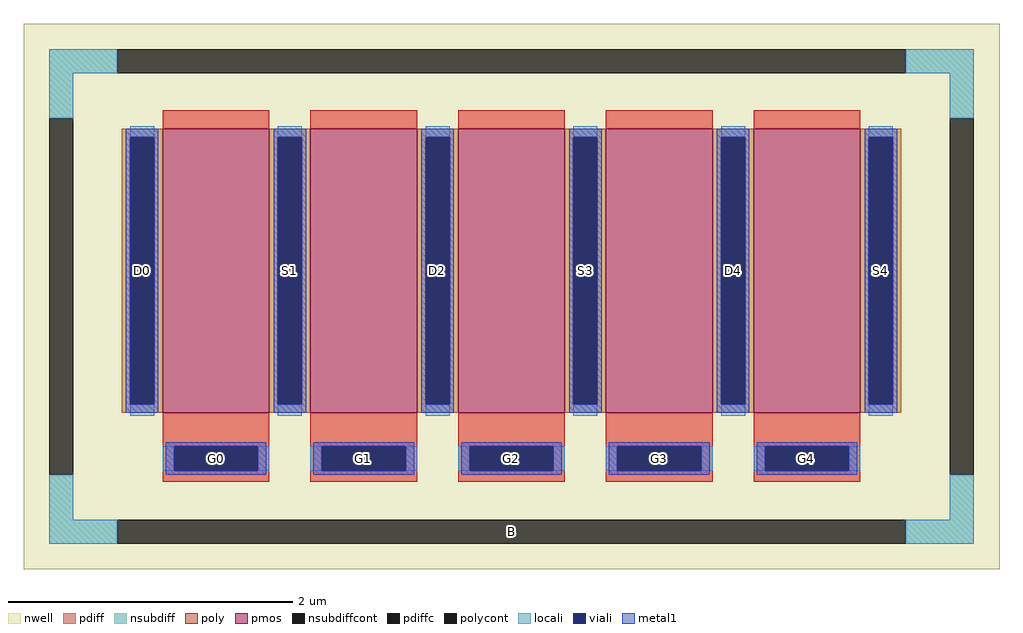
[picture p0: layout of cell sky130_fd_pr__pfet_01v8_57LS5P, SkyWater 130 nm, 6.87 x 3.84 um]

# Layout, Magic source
magic
tech sky130A
magscale 1 2
<< nwell >>
rect -687 -384 687 384
<< pmos >>
rect -491 -164 -341 236
rect -283 -164 -133 236
rect -75 -164 75 236
rect 133 -164 283 236
rect 341 -164 491 236
<< pdiff >>
rect -549 224 -491 236
rect -549 -152 -537 224
rect -503 -152 -491 224
rect -549 -164 -491 -152
rect -341 224 -283 236
rect -341 -152 -329 224
rect -295 -152 -283 224
rect -341 -164 -283 -152
rect -133 224 -75 236
rect -133 -152 -121 224
rect -87 -152 -75 224
rect -133 -164 -75 -152
rect 75 224 133 236
rect 75 -152 87 224
rect 121 -152 133 224
rect 75 -164 133 -152
rect 283 224 341 236
rect 283 -152 295 224
rect 329 -152 341 224
rect 283 -164 341 -152
rect 491 224 549 236
rect 491 -152 503 224
rect 537 -152 549 224
rect 491 -164 549 -152
<< pdiffc >>
rect -537 -152 -503 224
rect -329 -152 -295 224
rect -121 -152 -87 224
rect 87 -152 121 224
rect 295 -152 329 224
rect 503 -152 537 224
<< nsubdiff >>
rect -651 314 -555 348
rect 555 314 651 348
rect -651 251 -617 314
rect 617 251 651 314
rect -651 -314 -617 -251
rect 617 -314 651 -251
rect -651 -348 -555 -314
rect 555 -348 651 -314
<< nsubdiffcont >>
rect -555 314 555 348
rect -651 -251 -617 251
rect 617 -251 651 251
rect -555 -348 555 -314
<< poly >>
rect -491 236 -341 262
rect -283 236 -133 262
rect -75 236 75 262
rect 133 236 283 262
rect 341 236 491 262
rect -491 -211 -341 -164
rect -491 -245 -475 -211
rect -357 -245 -341 -211
rect -491 -261 -341 -245
rect -283 -211 -133 -164
rect -283 -245 -267 -211
rect -149 -245 -133 -211
rect -283 -261 -133 -245
rect -75 -211 75 -164
rect -75 -245 -59 -211
rect 59 -245 75 -211
rect -75 -261 75 -245
rect 133 -211 283 -164
rect 133 -245 149 -211
rect 267 -245 283 -211
rect 133 -261 283 -245
rect 341 -211 491 -164
rect 341 -245 357 -211
rect 475 -245 491 -211
rect 341 -261 491 -245
<< polycont >>
rect -475 -245 -357 -211
rect -267 -245 -149 -211
rect -59 -245 59 -211
rect 149 -245 267 -211
rect 357 -245 475 -211
<< locali >>
rect -651 314 -555 348
rect 555 314 651 348
rect -651 251 -617 314
rect 617 251 651 314
rect -537 224 -503 240
rect -537 -168 -503 -152
rect -329 224 -295 240
rect -329 -168 -295 -152
rect -121 224 -87 240
rect -121 -168 -87 -152
rect 87 224 121 240
rect 87 -168 121 -152
rect 295 224 329 240
rect 295 -168 329 -152
rect 503 224 537 240
rect 503 -168 537 -152
rect -491 -245 -475 -211
rect -357 -245 -341 -211
rect -283 -245 -267 -211
rect -149 -245 -133 -211
rect -75 -245 -59 -211
rect 59 -245 75 -211
rect 133 -245 149 -211
rect 267 -245 283 -211
rect 341 -245 357 -211
rect 475 -245 491 -211
rect -651 -314 -617 -251
rect 617 -314 651 -251
rect -651 -348 -555 -314
rect 555 -348 651 -314
<< viali >>
rect -537 -152 -503 224
rect -329 -152 -295 224
rect -121 -152 -87 224
rect 87 -152 121 224
rect 295 -152 329 224
rect 503 -152 537 224
rect -475 -245 -357 -211
rect -267 -245 -149 -211
rect -59 -245 59 -211
rect 149 -245 267 -211
rect 357 -245 475 -211
<< metal1 >>
rect -543 224 -497 236
rect -543 -152 -537 224
rect -503 -152 -497 224
rect -543 -164 -497 -152
rect -335 224 -289 236
rect -335 -152 -329 224
rect -295 -152 -289 224
rect -335 -164 -289 -152
rect -127 224 -81 236
rect -127 -152 -121 224
rect -87 -152 -81 224
rect -127 -164 -81 -152
rect 81 224 127 236
rect 81 -152 87 224
rect 121 -152 127 224
rect 81 -164 127 -152
rect 289 224 335 236
rect 289 -152 295 224
rect 329 -152 335 224
rect 289 -164 335 -152
rect 497 224 543 236
rect 497 -152 503 224
rect 537 -152 543 224
rect 497 -164 543 -152
rect -487 -211 -345 -205
rect -487 -245 -475 -211
rect -357 -245 -345 -211
rect -487 -251 -345 -245
rect -279 -211 -137 -205
rect -279 -245 -267 -211
rect -149 -245 -137 -211
rect -279 -251 -137 -245
rect -71 -211 71 -205
rect -71 -245 -59 -211
rect 59 -245 71 -211
rect -71 -251 71 -245
rect 137 -211 279 -205
rect 137 -245 149 -211
rect 267 -245 279 -211
rect 137 -251 279 -245
rect 345 -211 487 -205
rect 345 -245 357 -211
rect 475 -245 487 -211
rect 345 -251 487 -245
<< labels >>
rlabel nsubdiffcont 0 -331 0 -331 0 B
port 1 nsew
rlabel pdiffc -520 36 -520 36 0 D0
port 2 nsew
rlabel polycont -416 -228 -416 -228 0 G0
port 3 nsew
rlabel pdiffc -312 36 -312 36 0 S1
port 4 nsew
rlabel polycont -208 -228 -208 -228 0 G1
port 5 nsew
rlabel pdiffc -104 36 -104 36 0 D2
port 6 nsew
rlabel polycont 0 -228 0 -228 0 G2
port 7 nsew
rlabel pdiffc 104 36 104 36 0 S3
port 8 nsew
rlabel polycont 208 -228 208 -228 0 G3
port 9 nsew
rlabel pdiffc 312 36 312 36 0 D4
port 10 nsew
rlabel pdiffc 520 36 520 36 0 S4
port 11 nsew
rlabel polycont 416 -228 416 -228 0 G4
port 12 nsew
<< properties >>
string FIXED_BBOX -634 -331 634 331
string gencell sky130_fd_pr__pfet_01v8
string library sky130
string parameters w 2 l 0.75 m 1 nf 5 diffcov 100 polycov 100 guard 1 glc 1 grc 1 gtc 1 gbc 1 tbcov 100 rlcov 100 topc 0 botc 1 poverlap 0 doverlap 1 lmin 0.15 wmin 0.42 class mosfet compatible {sky130_fd_pr__pfet_01v8  sky130_fd_pr__pfet_01v8_lvt sky130_fd_pr__pfet_01v8_hvt  sky130_fd_pr__pfet_g5v0d10v5} full_metal 1 conn_gates 0 viasrc 100 viadrn 100 viagate 100 viagb 0 viagr 0 viagl 0 viagt 0 doports 1
<< end >>
